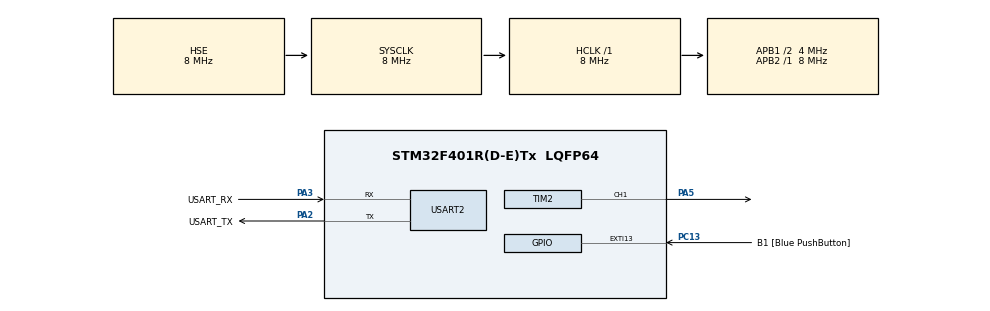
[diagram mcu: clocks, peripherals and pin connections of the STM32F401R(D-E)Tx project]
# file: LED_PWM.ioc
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Mcu.Family=STM32F4
Mcu.Name=STM32F401R(D-E)Tx
Mcu.Package=LQFP64
NVIC.PriorityGroup=NVIC_PRIORITYGROUP_4
PA13.GPIO_Label=TMS
PA13.Mode=Serial_Wire
PA13.Signal=SYS_JTMS-SWDIO
PA14.GPIO_Label=TCK
PA14.Mode=Serial_Wire
PA14.Signal=SYS_JTCK-SWCLK
PA2.GPIO_Label=USART_TX
PA2.GPIO_Mode=GPIO_MODE_AF_PP
PA2.GPIO_PuPd=GPIO_NOPULL
PA2.GPIO_Speed=GPIO_SPEED_FREQ_LOW
PA2.Mode=Asynchronous
PA2.Signal=USART2_TX
PA3.GPIO_Label=USART_RX
PA3.GPIO_Mode=GPIO_MODE_AF_PP
PA3.GPIO_PuPd=GPIO_NOPULL
PA3.GPIO_Speed=GPIO_SPEED_FREQ_LOW
PA3.Mode=Asynchronous
PA3.Signal=USART2_RX
PA5.Signal=S_TIM2_CH1_ETR
PB3.GPIO_Label=SWO
PB3.Signal=SYS_JTDO-SWO
PC13-ANTI_TAMP.GPIO_Label=B1 [Blue PushButton]
PC13-ANTI_TAMP.GPIO_ModeDefaultEXTI=GPIO_MODE_IT_FALLING
PC13-ANTI_TAMP.GPIO_PuPd=GPIO_NOPULL
PC13-ANTI_TAMP.Signal=GPXTI13
PC14-OSC32_IN.Mode=LSE-External-Oscillator
PC14-OSC32_IN.Signal=RCC_OSC32_IN
PC15-OSC32_OUT.Mode=LSE-External-Oscillator
PC15-OSC32_OUT.Signal=RCC_OSC32_OUT
PH0\ -\ OSC_IN.Mode=HSE-External-Clock-Source
PH0\ -\ OSC_IN.Signal=RCC_OSC_IN
PH1\ -\ OSC_OUT.Mode=HSE-External-Clock-Source
PH1\ -\ OSC_OUT.Signal=RCC_OSC_OUT
ProjectManager.HeapSize=0x200
ProjectManager.StackSize=0x400
ProjectManager.TargetToolchain=EWARM V8
RCC.48MHZClocksFreq_Value=48000000
RCC.AHBFreq_Value=8000000
RCC.APB1CLKDivider=RCC_HCLK_DIV2
RCC.APB1Freq_Value=4000000
RCC.APB1TimFreq_Value=8000000
RCC.APB2Freq_Value=8000000
RCC.APB2TimFreq_Value=8000000
RCC.CortexFreq_Value=8000000
RCC.HCLKFreq_Value=8000000
RCC.HSE_VALUE=8000000
RCC.HSI_VALUE=16000000
RCC.PLLN=336
RCC.PLLP=RCC_PLLP_DIV4
RCC.PLLQ=7
RCC.SYSCLKFreq_VALUE=8000000
RCC.SYSCLKSource=RCC_SYSCLKSOURCE_HSE
RCC.VCOOutputFreq_Value=336000000
SH.S_TIM2_CH1_ETR.0=TIM2_CH1,PWM Generation1 CH1
TIM2.Channel-PWM\ Generation1\ CH1=TIM_CHANNEL_1
TIM2.Period=2000-1
TIM2.Prescaler=1080-1
USART2.VirtualMode=VM_ASYNC
board=NUCLEO-F401RE

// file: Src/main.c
/**
  ******************************************************************************
  * @file           : main.c
  * @brief          : Main program body
  ******************************************************************************
  ** This notice applies to any and all portions of this file
  * that are not between comment pairs USER CODE BEGIN and
  * USER CODE END. Other portions of this file, whether
  * inserted by the user or by software development tools
  * are owned by their respective copyright owners.
  *
  * COPYRIGHT(c) 2019 STMicroelectronics
  *
  * Redistribution and use in source and binary forms, with or without modification,
  * are permitted provided that the following conditions are met:
  *   1. Redistributions of source code must retain the above copyright notice,
  *      this list of conditions and the following disclaimer.
  *   2. Redistributions in binary form must reproduce the above copyright notice,
  *      this list of conditions and the following disclaimer in the documentation
  *      and/or other materials provided with the distribution.
  *   3. Neither the name of STMicroelectronics nor the names of its contributors
  *      may be used to endorse or promote products derived from this software
  *      without specific prior written permission.
  *
  * THIS SOFTWARE IS PROVIDED BY THE COPYRIGHT HOLDERS AND CONTRIBUTORS "AS IS"
  * AND ANY EXPRESS OR IMPLIED WARRANTIES, INCLUDING, BUT NOT LIMITED TO, THE
  * IMPLIED WARRANTIES OF MERCHANTABILITY AND FITNESS FOR A PARTICULAR PURPOSE ARE
  * DISCLAIMED. IN NO EVENT SHALL THE COPYRIGHT HOLDER OR CONTRIBUTORS BE LIABLE
  * FOR ANY DIRECT, INDIRECT, INCIDENTAL, SPECIAL, EXEMPLARY, OR CONSEQUENTIAL
  * DAMAGES (INCLUDING, BUT NOT LIMITED TO, PROCUREMENT OF SUBSTITUTE GOODS OR
  * SERVICES; LOSS OF USE, DATA, OR PROFITS; OR BUSINESS INTERRUPTION) HOWEVER
  * CAUSED AND ON ANY THEORY OF LIABILITY, WHETHER IN CONTRACT, STRICT LIABILITY,
  * OR TORT (INCLUDING NEGLIGENCE OR OTHERWISE) ARISING IN ANY WAY OUT OF THE USE
  * OF THIS SOFTWARE, EVEN IF ADVISED OF THE POSSIBILITY OF SUCH DAMAGE.
  *
  ******************************************************************************
  */
#include "main.h"
#include "stm32f4xx_hal.h"

TIM_HandleTypeDef htim2;

UART_HandleTypeDef huart2;

/* USER CODE BEGIN PV */
/* Private variables ---------------------------------------------------------*/

/* USER CODE END PV */

void SystemClock_Config(void);
static void MX_GPIO_Init(void);
static void MX_USART2_UART_Init(void);
static void MX_TIM2_Init(void);
void HAL_TIM_MspPostInit(TIM_HandleTypeDef *htim);

/* USER CODE BEGIN PFP */
/* Private function prototypes -----------------------------------------------*/

/* USER CODE END PFP */

/* USER CODE BEGIN 4 */
void user_pwm_setvalue(uint16_t value);
void user_pwm_setvalue(uint16_t value)
{
    TIM_OC_InitTypeDef sConfigOC;

    sConfigOC.OCMode = TIM_OCMODE_PWM1;
    sConfigOC.Pulse = value;
    sConfigOC.OCPolarity = TIM_OCPOLARITY_HIGH;
    sConfigOC.OCFastMode = TIM_OCFAST_DISABLE;
    HAL_TIM_PWM_ConfigChannel(&htim2, &sConfigOC, TIM_CHANNEL_1);
    HAL_TIM_PWM_Start(&htim2, TIM_CHANNEL_1);
}
/* USER CODE END 4 */

int main(void)
{

  /* MCU Configuration----------------------------------------------------------*/

  /* Reset of all peripherals, Initializes the Flash interface and the Systick. */
  HAL_Init();

  /* Configure the system clock */
  SystemClock_Config();

  /* Initialize all configured peripherals */
  MX_GPIO_Init();
  MX_USART2_UART_Init();
  MX_TIM2_Init();
  /* USER CODE BEGIN 2 */
HAL_TIM_PWM_Start(&htim2, TIM_CHANNEL_1);
  /* USER CODE END 2 */

  /* Infinite loop */
  /* USER CODE BEGIN WHILE */
int16_t step=0;
uint16_t pwm_value =0;
  while (1)
  {

  /* USER CODE END WHILE */

  /* USER CODE BEGIN 3 */
  HAL_Delay(1);
  if(pwm_value == 0) step = 2;
  if(pwm_value == 2000) step = -2;
  pwm_value += step;
  user_pwm_setvalue(pwm_value);
  }
  /* USER CODE END 3 */

}

void SystemClock_Config(void)
{

  RCC_OscInitTypeDef RCC_OscInitStruct;
  RCC_ClkInitTypeDef RCC_ClkInitStruct;

    /**Configure the main internal regulator output voltage
    */
  __HAL_RCC_PWR_CLK_ENABLE();

  __HAL_PWR_VOLTAGESCALING_CONFIG(PWR_REGULATOR_VOLTAGE_SCALE2);

    /**Initializes the CPU, AHB and APB busses clocks
    */
  RCC_OscInitStruct.OscillatorType = RCC_OSCILLATORTYPE_HSE;
  RCC_OscInitStruct.HSEState = RCC_HSE_BYPASS;
  RCC_OscInitStruct.PLL.PLLState = RCC_PLL_NONE;
  if (HAL_RCC_OscConfig(&RCC_OscInitStruct) != HAL_OK)
  {
    _Error_Handler(__FILE__, __LINE__);
  }

    /**Initializes the CPU, AHB and APB busses clocks
    */
  RCC_ClkInitStruct.ClockType = RCC_CLOCKTYPE_HCLK|RCC_CLOCKTYPE_SYSCLK
                              |RCC_CLOCKTYPE_PCLK1|RCC_CLOCKTYPE_PCLK2;
  RCC_ClkInitStruct.SYSCLKSource = RCC_SYSCLKSOURCE_HSE;
  RCC_ClkInitStruct.AHBCLKDivider = RCC_SYSCLK_DIV1;
  RCC_ClkInitStruct.APB1CLKDivider = RCC_HCLK_DIV2;
  RCC_ClkInitStruct.APB2CLKDivider = RCC_HCLK_DIV1;

  if (HAL_RCC_ClockConfig(&RCC_ClkInitStruct, FLASH_LATENCY_0) != HAL_OK)
  {
    _Error_Handler(__FILE__, __LINE__);
  }

    /**Configure the Systick interrupt time
    */
  HAL_SYSTICK_Config(HAL_RCC_GetHCLKFreq()/1000);

    /**Configure the Systick
    */
  HAL_SYSTICK_CLKSourceConfig(SYSTICK_CLKSOURCE_HCLK);

  /* SysTick_IRQn interrupt configuration */
  HAL_NVIC_SetPriority(SysTick_IRQn, 0, 0);
}

/* TIM2 init function */
static void MX_TIM2_Init(void)
{

  TIM_MasterConfigTypeDef sMasterConfig;
  TIM_OC_InitTypeDef sConfigOC;

  htim2.Instance = TIM2;
//  htim2.Init.Prescaler = 1080-1;
  htim2.Init.Prescaler = 54-1;
  htim2.Init.CounterMode = TIM_COUNTERMODE_UP;
  htim2.Init.Period = 2000-1;
//  htim2.Init.Period = 2-1;
  htim2.Init.ClockDivision = TIM_CLOCKDIVISION_DIV1;
  if (HAL_TIM_PWM_Init(&htim2) != HAL_OK)
  {
    _Error_Handler(__FILE__, __LINE__);
  }

  sMasterConfig.MasterOutputTrigger = TIM_TRGO_RESET;
  sMasterConfig.MasterSlaveMode = TIM_MASTERSLAVEMODE_DISABLE;
  if (HAL_TIMEx_MasterConfigSynchronization(&htim2, &sMasterConfig) != HAL_OK)
  {
    _Error_Handler(__FILE__, __LINE__);
  }

  sConfigOC.OCMode = TIM_OCMODE_PWM1;
  sConfigOC.Pulse = 0;
  sConfigOC.OCPolarity = TIM_OCPOLARITY_HIGH;
  sConfigOC.OCFastMode = TIM_OCFAST_DISABLE;
  if (HAL_TIM_PWM_ConfigChannel(&htim2, &sConfigOC, TIM_CHANNEL_1) != HAL_OK)
  {
    _Error_Handler(__FILE__, __LINE__);
  }

  HAL_TIM_MspPostInit(&htim2);

}

/* USART2 init function */
static void MX_USART2_UART_Init(void)
{

  huart2.Instance = USART2;
  huart2.Init.BaudRate = 115200;
  huart2.Init.WordLength = UART_WORDLENGTH_8B;
  huart2.Init.StopBits = UART_STOPBITS_1;
  huart2.Init.Parity = UART_PARITY_NONE;
  huart2.Init.Mode = UART_MODE_TX_RX;
  huart2.Init.HwFlowCtl = UART_HWCONTROL_NONE;
  huart2.Init.OverSampling = UART_OVERSAMPLING_16;
  if (HAL_UART_Init(&huart2) != HAL_OK)
  {
    _Error_Handler(__FILE__, __LINE__);
  }

}

/** Configure pins as
        * Analog
        * Input
        * Output
        * EVENT_OUT
        * EXTI
*/
static void MX_GPIO_Init(void)
{

  GPIO_InitTypeDef GPIO_InitStruct;

  /* GPIO Ports Clock Enable */
  __HAL_RCC_GPIOC_CLK_ENABLE();
  __HAL_RCC_GPIOH_CLK_ENABLE();
  __HAL_RCC_GPIOA_CLK_ENABLE();
  __HAL_RCC_GPIOB_CLK_ENABLE();

  /*Configure GPIO pin : B1_Pin */
  GPIO_InitStruct.Pin = B1_Pin;
  GPIO_InitStruct.Mode = GPIO_MODE_IT_FALLING;
  GPIO_InitStruct.Pull = GPIO_NOPULL;
  HAL_GPIO_Init(B1_GPIO_Port, &GPIO_InitStruct);

}

void _Error_Handler(char *file, int line)
{
  while(1)
  {
  }
}

/************************ (C) COPYRIGHT STMicroelectronics *****END OF FILE****/
